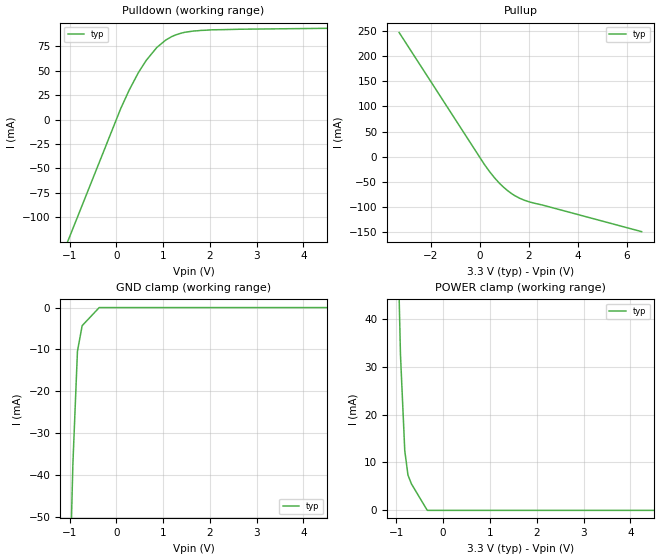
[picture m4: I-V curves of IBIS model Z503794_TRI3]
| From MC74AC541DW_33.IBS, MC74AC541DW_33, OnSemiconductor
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| (C) COPYRIGHT 1993-2000
| MENTOR GRAPHICS CORPORATION
| ICX STANDARD LIBRARY, ICX PROJECT MODELING,
| ICX CUSTOM MODELING, ICX VENDOR MODEL
| ALL RIGHTS RESERVED.
| THE FOLLOWING ARE TRADEMARKS OR SERVICE MARKS OF
| MENTOR GRAPHICS CORPORATION:ICX (R), ICX STANDARD
| LIBRARY(R), ICX PROJECT MODELING(R), ICX CUSTOM
| MODELING(R), qualityIBIS(TM), MODELVIEWER(TM),
| AND MODELEDITOR(TM)
| ALL COPIES OF SOFTWARE, INCLUDING BUT NOT LIMITED TO
| ANY MODIFICATIONS, ENHANCEMENTS OR DERIVATIVE WORKS,
| MUST CONTAIN ALL MENTOR GRAPHICS CORPORATION'S
| NOTICES AND LEGENDS, INCLUDING THOSE EMBEDDED IN
| SOFTWARE AND THOSE AFFIXED TO SOFTWARE MEDIUM
| AND CONTAINER, AS RECEIVED FROM MENTOR GRAPHICS
| CORPORATION.
| Model Application Version 1.89 2/18/99.
[Model] Z503794_TRI3
Model_type 3-state
Vref=0.000V
Rref=500.0ohms
Cref=50.00pF
Vmeas=1.650V
C_comp 8.000pF NA NA
| variable typ   min   max
[Voltage Range] 3.300V NA NA
[POWER Clamp Reference] 3.300V NA NA
[Pullup Reference] 3.300V NA NA
[Pulldown Reference] 0.000V NA NA
[GND Clamp Reference] 0.000V NA NA
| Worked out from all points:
|   slope of the pulldown table from 0 to 0.495 V, typ, clamps not added: 9.94 ohm
|   slope of the pullup table from 0 to 0.495 V, typ, clamps not added: 14.6 ohm
[GND Clamp]
-3.3V     -1.055A    NA         NA
-927.5mV  -37.27mA   NA         NA
-830.3mV  -10.42mA   NA         NA
-729.7mV  -4.324mA   NA         NA
-364.9mV  0A         NA         NA
6.6V      0A         NA         NA
[Pulldown]
-3.3V     -395.8mA   NA         NA
94.3mV    11.17mA    NA         NA
273.7mV   29.91mA    NA         NA
473.9mV   48.08mA    NA         NA
640mV     60.44mA    NA         NA
864.4mV   73.52mA    NA         NA
1.055V    81.13mA    NA         NA
1.192V    84.9mA     NA         NA
1.465V    89.12mA    NA         NA
2.042V    91.64mA    NA         NA
6.6V      94.22mA    NA         NA
[Pullup]
-3.3V     246.4mA    NA         NA
180mV     -15.24mA   NA         NA
609mV     -42.58mA   NA         NA
1.124V    -67.06mA   NA         NA
1.625V    -82.41mA   NA         NA
2.016V    -89.47mA   NA         NA
6.6V      -148.5mA   NA         NA
[POWER Clamp]
-3.3V     1.274A     NA         NA
-1.055V   92.8mA     NA         NA
-913mV    32.57mA    NA         NA
-821mV    12.49mA    NA         NA
-753mV    7.385mA    NA         NA
-679mV    5.538mA    NA         NA
-339.5mV  0A         NA         NA
6.6V      0A         NA         NA
[Ramp]
| variable typ min max
dV/dt_r 1.941/686.7p NA NA
dV/dt_f 1.941/428.4p NA NA
R_load = 500.0Ohms
